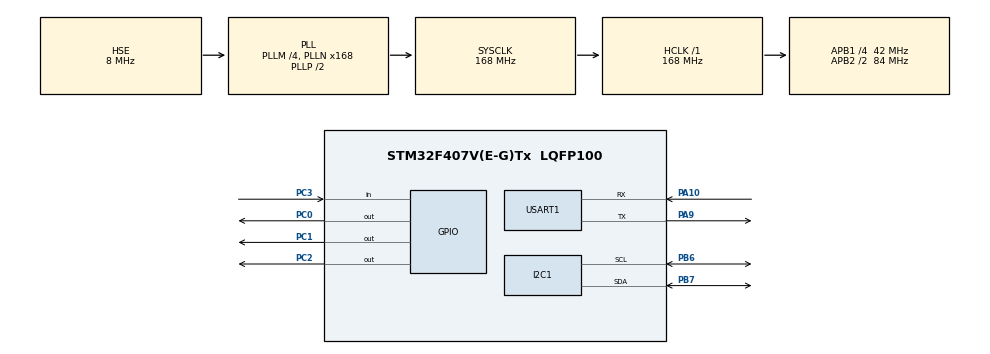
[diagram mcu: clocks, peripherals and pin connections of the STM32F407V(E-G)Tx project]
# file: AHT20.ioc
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I2C1.I2C_Mode=I2C_Fast
Mcu.Family=STM32F4
Mcu.Name=STM32F407V(E-G)Tx
Mcu.Package=LQFP100
NVIC.PriorityGroup=NVIC_PRIORITYGROUP_4
PA10.Mode=Asynchronous
PA10.Signal=USART1_RX
PA9.Mode=Asynchronous
PA9.Signal=USART1_TX
PB6.Mode=I2C
PB6.Signal=I2C1_SCL
PB7.Mode=I2C
PB7.Signal=I2C1_SDA
PC0.GPIO_ModeDefaultOutputPP=GPIO_MODE_OUTPUT_PP
PC0.GPIO_PuPd=GPIO_PULLUP
PC0.PinState=GPIO_PIN_SET
PC0.Signal=GPIO_Output
PC1.GPIO_ModeDefaultOutputPP=GPIO_MODE_OUTPUT_PP
PC1.GPIO_PuPd=GPIO_PULLUP
PC1.PinState=GPIO_PIN_SET
PC1.Signal=GPIO_Output
PC14-OSC32_IN.Mode=LSE-External-Oscillator
PC14-OSC32_IN.Signal=RCC_OSC32_IN
PC15-OSC32_OUT.Mode=LSE-External-Oscillator
PC15-OSC32_OUT.Signal=RCC_OSC32_OUT
PC2.GPIO_ModeDefaultOutputPP=GPIO_MODE_OUTPUT_PP
PC2.GPIO_PuPd=GPIO_PULLUP
PC2.PinState=GPIO_PIN_SET
PC2.Signal=GPIO_Output
PC3.GPIO_PuPd=GPIO_PULLUP
PC3.Signal=GPIO_Input
PH0-OSC_IN.Mode=HSE-External-Oscillator
PH0-OSC_IN.Signal=RCC_OSC_IN
PH1-OSC_OUT.Mode=HSE-External-Oscillator
PH1-OSC_OUT.Signal=RCC_OSC_OUT
ProjectManager.HeapSize=0x200
ProjectManager.StackSize=0x400
ProjectManager.TargetToolchain=MDK-ARM V5
RCC.48MHZClocksFreq_Value=84000000
RCC.AHBFreq_Value=168000000
RCC.APB1CLKDivider=RCC_HCLK_DIV4
RCC.APB1Freq_Value=42000000
RCC.APB1TimFreq_Value=84000000
RCC.APB2CLKDivider=RCC_HCLK_DIV2
RCC.APB2Freq_Value=84000000
RCC.APB2TimFreq_Value=168000000
RCC.CortexFreq_Value=168000000
RCC.HCLKFreq_Value=168000000
RCC.HSE_VALUE=8000000
RCC.HSI_VALUE=16000000
RCC.PLLM=4
RCC.PLLN=168
RCC.PLLSourceVirtual=RCC_PLLSOURCE_HSE
RCC.SYSCLKFreq_VALUE=168000000
RCC.SYSCLKSource=RCC_SYSCLKSOURCE_PLLCLK
RCC.VCOOutputFreq_Value=336000000
USART1.VirtualMode=VM_ASYNC
board=custom

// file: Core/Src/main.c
/* USER CODE BEGIN Header */
/**
  ******************************************************************************
  * @file           : main.c
  * @brief          : Main program body
  ******************************************************************************
  * @attention
  *
  * Copyright (c) 2025 STMicroelectronics.
  * All rights reserved.
  *
  * This software is licensed under terms that can be found in the LICENSE file
  * in the root directory of this software component.
  * If no LICENSE file comes with this software, it is provided AS-IS.
  *
  ******************************************************************************
  */
/* USER CODE END Header */
#include "main.h"
#include "i2c.h"
#include "usart.h"
#include "gpio.h"

/* USER CODE BEGIN Includes */
#include "stdio.h"
#include "ebtn.h"
#include "multiTimer.h"
#include "elog.h"
#include "driver_aht20.h"
#include "driver_aht20_interface.h"
/* USER CODE END Includes */

/* USER CODE BEGIN PTD */
MultiTimer mt_led, mt_key;
static aht20_handle_t gs_handle;        /**< aht20 handle */
/* USER CODE END PTD */

/* USER CODE BEGIN PD */
#define MT_KEY_TIME       5   // 按键扫描时间
#define MT_AHT_TIME       200 // 陀螺仪读取时间
/* USER CODE END PD */

/* USER CODE BEGIN PM */
typedef enum {
    USER_BUTTON_0 = 0,
    USER_BUTTON_MAX,
} user_button_t;
/* USER CODE END PM */

/* USER CODE BEGIN PV */
uint8_t current_color = 0; // 0=红, 1=绿, 2=蓝

/* 按键参数配置(消抖时间), 连击间隔时间(连击判断), 长按开始时间(长按判断), 长按间隔时间,
   长按保持时间, 长按结束时间, 长按保持间隔时间 */
static const ebtn_btn_param_t defaul_ebtn_param = EBTN_PARAMS_INIT(20, 0, 20, 300, 200, 1000, 5);

/* USER CODE END PV */

void SystemClock_Config(void);

/* USER CODE BEGIN 0 */
static ebtn_btn_t btns[] = {
    EBTN_BUTTON_INIT(USER_BUTTON_0, &defaul_ebtn_param),
};

uint64_t bsp_timer_tick(void)
{
    return (uint64_t)HAL_GetTick();
}

uint8_t prv_btn_get_state(struct ebtn_btn *btn)
{
    switch(btn->key_id) {
        case USER_BUTTON_0:
            return !HAL_GPIO_ReadPin(GPIOC, GPIO_PIN_3);
        default:
            return 0;
    }
}

void prv_btn_event(struct ebtn_btn *btn, ebtn_evt_t evt)
{
    // 按键K1
    if((btn->key_id == USER_BUTTON_0) && evt == EBTN_EVT_ONCLICK &&(ebtn_click_get_count(btn) == 1)) {
        HAL_GPIO_TogglePin(GPIOC, GPIO_PIN_0);
        elog_i("main", "Btn click");
    }
    else if((btn->key_id == USER_BUTTON_0) && (ebtn_click_get_count(btn) == 2)) {
        HAL_GPIO_TogglePin(GPIOC, GPIO_PIN_1);
        elog_i("main", "Btn Double click");
    }
    else if((btn->key_id == USER_BUTTON_0) && evt == EBTN_EVT_KEEPALIVE) {
        HAL_GPIO_TogglePin(GPIOC, GPIO_PIN_2);
        elog_i("main", "Btn Hold");
    }
}

void app_btn_init(void)
{
    ebtn_init(btns, EBTN_ARRAY_SIZE(btns), NULL, 0, prv_btn_get_state, prv_btn_event);
}

void mt_cb_key(MultiTimer* timer, void* userData)
{
    ebtn_process(HAL_GetTick());
    multiTimerStart(timer, MT_KEY_TIME, mt_cb_key, NULL);
}

/**
 * @brief  basic example init
 * @return status code
 *         - 0 success
 *         - 1 init failed
 * @note   none
 */
uint8_t aht20_basic_init(void)
{
    uint8_t res;

    /* link interface function */
    DRIVER_AHT20_LINK_INIT(&gs_handle, aht20_handle_t);
    DRIVER_AHT20_LINK_IIC_INIT(&gs_handle, aht20_interface_iic_init);
    DRIVER_AHT20_LINK_IIC_DEINIT(&gs_handle, aht20_interface_iic_deinit);
    DRIVER_AHT20_LINK_IIC_READ_CMD(&gs_handle, aht20_interface_iic_read_cmd);
    DRIVER_AHT20_LINK_IIC_WRITE_CMD(&gs_handle, aht20_interface_iic_write_cmd);
    DRIVER_AHT20_LINK_DELAY_MS(&gs_handle, aht20_interface_delay_ms);
    DRIVER_AHT20_LINK_DEBUG_PRINT(&gs_handle, aht20_interface_debug_print);

    /* aht20 init */
    res = aht20_init(&gs_handle);
    if (res != 0)
    {
        aht20_interface_debug_print("aht20: init failed.\n");

        return 1;
    }

    return 0;
}

/**
 * @brief      basic example read
 * @param[out] *temperature points to a converted temperature buffer
 * @param[out] *humidity points to a converted humidity buffer
 * @return     status code
 *             - 0 success
 *             - 1 read failed
 * @note       none
 */
uint8_t aht20_basic_read(float *temperature, uint8_t *humidity)
{
    uint32_t temperature_raw;
    uint32_t humidity_raw;

    /* read temperature and humidity */
    if (aht20_read_temperature_humidity(&gs_handle, (uint32_t *)&temperature_raw, temperature,
                                       (uint32_t *)&humidity_raw, humidity) != 0)
    {
        return 1;
    }
    else
    {
        return 0;
    }
}

/**
 * @brief  basic example deinit
 * @return status code
 *         - 0 success
 *         - 1 deinit failed
 * @note   none
 */
uint8_t aht20_basic_deinit(void)
{
    /* deinit aht20 and close bus */
    if (aht20_deinit(&gs_handle) != 0)
    {
        return 1;
    }
    else
    {
        return 0;
    }
}

uint8_t aht20_read_test(uint32_t times)
{
    uint8_t res;
    uint32_t i;
    uint32_t temperature_raw;
    uint32_t humidity_raw;
    float temperature;
    uint8_t humidity;
    aht20_info_t info;

    /* link interface function */
    DRIVER_AHT20_LINK_INIT(&gs_handle, aht20_handle_t);
    DRIVER_AHT20_LINK_IIC_INIT(&gs_handle, aht20_interface_iic_init);
    DRIVER_AHT20_LINK_IIC_DEINIT(&gs_handle, aht20_interface_iic_deinit);
    DRIVER_AHT20_LINK_IIC_READ_CMD(&gs_handle, aht20_interface_iic_read_cmd);
    DRIVER_AHT20_LINK_IIC_WRITE_CMD(&gs_handle, aht20_interface_iic_write_cmd);
    DRIVER_AHT20_LINK_DELAY_MS(&gs_handle, aht20_interface_delay_ms);
    DRIVER_AHT20_LINK_DEBUG_PRINT(&gs_handle, aht20_interface_debug_print);

    /* get aht20 information */
    res = aht20_info(&info);
    if (res != 0)
    {
        aht20_interface_debug_print("aht20: get info failed.\n");

        return 1;
    }
    else
    {
        /* print aht20 information */
        aht20_interface_debug_print("aht20: chip is %s.\n", info.chip_name);
        aht20_interface_debug_print("aht20: manufacturer is %s.\n", info.manufacturer_name);
        aht20_interface_debug_print("aht20: interface is %s.\n", info.interface);
        aht20_interface_debug_print("aht20: driver version is %d.%d.\n", info.driver_version / 1000, (info.driver_version % 1000) / 100);
        aht20_interface_debug_print("aht20: min supply voltage is %0.1fV.\n", info.supply_voltage_min_v);
        aht20_interface_debug_print("aht20: max supply voltage is %0.1fV.\n", info.supply_voltage_max_v);
        aht20_interface_debug_print("aht20: max current is %0.2fmA.\n", info.max_current_ma);
        aht20_interface_debug_print("aht20: max temperature is %0.1fC.\n", info.temperature_max);
        aht20_interface_debug_print("aht20: min temperature is %0.1fC.\n", info.temperature_min);
    }

    /* start basic read test */
    aht20_interface_debug_print("aht20: start read test.\n");

    /* aht20 init */
    res = aht20_init(&gs_handle);
    if (res != 0)
    {
        aht20_interface_debug_print("aht20: init failed.\n");

        return 1;
    }

    /* delay 2000 ms for read */
    aht20_interface_delay_ms(2000);
    for (i = 0; i < times; i++)
    {
        /* read temperature and humidity */
        res = aht20_read_temperature_humidity(&gs_handle, (uint32_t *)&temperature_raw, (float *)&temperature, (uint32_t *)&humidity_raw, (uint8_t *)&humidity);
        if (res != 0)
        {
            aht20_interface_debug_print("aht20: read failed.\n");
            (void)aht20_deinit(&gs_handle);

            return 1;
        }

        /* print result */
        aht20_interface_debug_print("aht20: temperature: %.01fC.\n", temperature);
        aht20_interface_debug_print("aht20: humidity: %d%%.\n", humidity);

        /* delay 2000 ms*/
        aht20_interface_delay_ms(2000);
    }

    /* finish basic read test and exit */
    aht20_interface_debug_print("aht20: finish read test.\n");
    (void)aht20_deinit(&gs_handle);

    return 0;
}

/* USER CODE END 0 */

int main(void)
{

  /* USER CODE BEGIN 1 */
  multiTimerInstall(bsp_timer_tick);
  /* USER CODE END 1 */

  /* MCU Configuration--------------------------------------------------------*/

  /* Reset of all peripherals, Initializes the Flash interface and the Systick. */
  HAL_Init();

  /* Configure the system clock */
  SystemClock_Config();

  /* Initialize all configured peripherals */
  MX_GPIO_Init();
  MX_USART1_UART_Init();
  MX_I2C1_Init();
  /* USER CODE BEGIN 2 */
  elog_init();
  elog_set_text_color_enabled(true);
  elog_set_fmt(ELOG_LVL_ASSERT, ELOG_FMT_ALL);
  elog_set_fmt(ELOG_LVL_ERROR, ELOG_FMT_LVL | ELOG_FMT_TAG);
  elog_set_fmt(ELOG_LVL_WARN, ELOG_FMT_LVL | ELOG_FMT_TAG);
  elog_set_fmt(ELOG_LVL_INFO, ELOG_FMT_LVL | ELOG_FMT_TAG);
  elog_set_fmt(ELOG_LVL_DEBUG, ELOG_FMT_ALL & ~(ELOG_FMT_TIME | ELOG_FMT_P_INFO | ELOG_FMT_T_INFO));
  elog_set_fmt(ELOG_LVL_VERBOSE, ELOG_FMT_ALL);
  elog_start();
  /* USER CODE END 2 */

  /* Infinite loop */
  /* USER CODE BEGIN WHILE */

  app_btn_init();
  multiTimerStart(&mt_key,      MT_KEY_TIME,     mt_cb_key,        NULL);

  aht20_read_test(10);
  while (1)
  {
    /* USER CODE END WHILE */

    /* USER CODE BEGIN 3 */
    multiTimerYield();
  }
  /* USER CODE END 3 */
}

void SystemClock_Config(void)
{
  RCC_OscInitTypeDef RCC_OscInitStruct = {0};
  RCC_ClkInitTypeDef RCC_ClkInitStruct = {0};

  /** Configure the main internal regulator output voltage
  */
  __HAL_RCC_PWR_CLK_ENABLE();
  __HAL_PWR_VOLTAGESCALING_CONFIG(PWR_REGULATOR_VOLTAGE_SCALE1);

  /** Initializes the RCC Oscillators according to the specified parameters
  * in the RCC_OscInitTypeDef structure.
  */
  RCC_OscInitStruct.OscillatorType = RCC_OSCILLATORTYPE_HSE;
  RCC_OscInitStruct.HSEState = RCC_HSE_ON;
  RCC_OscInitStruct.PLL.PLLState = RCC_PLL_ON;
  RCC_OscInitStruct.PLL.PLLSource = RCC_PLLSOURCE_HSE;
  RCC_OscInitStruct.PLL.PLLM = 4;
  RCC_OscInitStruct.PLL.PLLN = 168;
  RCC_OscInitStruct.PLL.PLLP = RCC_PLLP_DIV2;
  RCC_OscInitStruct.PLL.PLLQ = 4;
  if (HAL_RCC_OscConfig(&RCC_OscInitStruct) != HAL_OK)
  {
    Error_Handler();
  }

  /** Initializes the CPU, AHB and APB buses clocks
  */
  RCC_ClkInitStruct.ClockType = RCC_CLOCKTYPE_HCLK|RCC_CLOCKTYPE_SYSCLK
                              |RCC_CLOCKTYPE_PCLK1|RCC_CLOCKTYPE_PCLK2;
  RCC_ClkInitStruct.SYSCLKSource = RCC_SYSCLKSOURCE_PLLCLK;
  RCC_ClkInitStruct.AHBCLKDivider = RCC_SYSCLK_DIV1;
  RCC_ClkInitStruct.APB1CLKDivider = RCC_HCLK_DIV4;
  RCC_ClkInitStruct.APB2CLKDivider = RCC_HCLK_DIV2;

  if (HAL_RCC_ClockConfig(&RCC_ClkInitStruct, FLASH_LATENCY_5) != HAL_OK)
  {
    Error_Handler();
  }
}

/* USER CODE BEGIN 4 */
#ifdef __GNUC__
#define PUTCHAR_PROTOTYPE int __io_putchar(int ch)
#else
#define PUTCHAR_PROTOTYPE int fputc(int ch, FILE *f)
#endif

// Redirect printf to UART
PUTCHAR_PROTOTYPE
{
    HAL_UART_Transmit(&huart1, (uint8_t *)&ch, 1, HAL_MAX_DELAY);
    return ch;
}
/* USER CODE END 4 */

void Error_Handler(void)
{
  __disable_irq();
  while (1)
  {
  }
}
